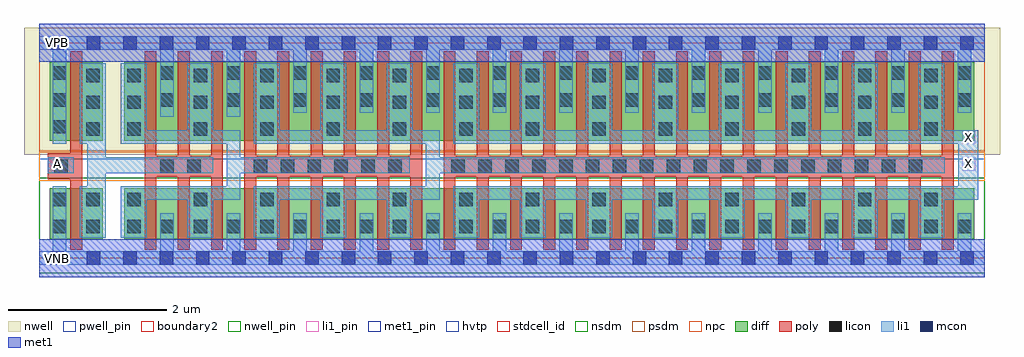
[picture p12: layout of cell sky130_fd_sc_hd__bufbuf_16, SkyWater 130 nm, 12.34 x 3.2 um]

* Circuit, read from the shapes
.subckt sky130_fd_sc_hd__bufbuf_16 A VGND VNB VPB VPWR X
XM1 n1 A VGND VNB sky130_fd_pr__nfet_01v8 w=0.65 l=0.15
XM2 VGND n1 n2 VNB sky130_fd_pr__nfet_01v8 w=0.65 l=0.15 m=3
XM3 n3 n2 VGND VNB sky130_fd_pr__nfet_01v8 w=0.65 l=0.15 m=6
XM4 X n3 VGND VNB sky130_fd_pr__nfet_01v8 w=0.65 l=0.15 m=16
XM5 n1 A VPWR VPB sky130_fd_pr__pfet_01v8_hvt w=1 l=0.15
XM6 VPWR n1 n2 VPB sky130_fd_pr__pfet_01v8_hvt w=1 l=0.15 m=3
XM7 n3 n2 VPWR VPB sky130_fd_pr__pfet_01v8_hvt w=1 l=0.15 m=6
XM8 X n3 VPWR VPB sky130_fd_pr__pfet_01v8_hvt w=1 l=0.15 m=16
.ends

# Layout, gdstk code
import gdstk
lib = gdstk.Library(unit=1e-6, precision=1e-09)
def R(c, l, rs):  # rectangles x0, y0, x1, y1
    for r in rs: c.add(gdstk.rectangle(r[:2], r[2:], *l))
def A(c, l, x, y, w, h, nx, ny, dx, dy):  # array of equal rectangles
    R(c, l, [(x+i*dx, y+j*dy, x+i*dx+w, y+j*dy+h) for i in range(nx) for j in range(ny)])
def P(c, l, *ps):  # polygons
    for p in ps: c.add(gdstk.Polygon(p, *l))
nwell_pin = (64, 16)
nwell = (64, 20)
diff = (65, 20)
poly = (66, 20)
licon = (66, 44)
li1_pin = (67, 16)
li1 = (67, 20)
mcon = (67, 44)
met1_pin = (68, 16)
met1 = (68, 20)
hvtp = (78, 44)
stdcell_id = (81, 4)
nsdm = (93, 44)
psdm = (94, 20)
npc = (95, 20)
pwell_pin = (122, 16)
boundary2 = (236, 0)

sky130_fd_sc_hd__bufbuf_ = lib.new_cell('sky130_fd_sc_hd__bufbuf_16')
R(sky130_fd_sc_hd__bufbuf_, nwell_pin, [(0.15,2.635,0.32,2.805)])
R(sky130_fd_sc_hd__bufbuf_, nwell, [(-0.19,1.305,12.15,2.91)])
R(sky130_fd_sc_hd__bufbuf_, diff, [(0.135,0.235,0.805,0.885), (1.075,0.235,11.825,0.885), (0.135,1.485,0.805,2.485), (1.075,1.485,11.825,2.485)])
P(sky130_fd_sc_hd__bufbuf_, poly, [(0.545,2.615),(0.395,2.615),(0.395,1.325),(0.11,1.325),(0.11,0.995),(0.395,0.995),(0.395,0.105),(0.545,0.105)],
  [(2.325,2.615),(2.175,2.615),(2.175,1.295),(1.905,1.295),(1.905,2.615),(1.755,2.615),(1.755,1.295),(1.485,1.295),(1.485,2.615),(1.335,2.615),(1.335,0.105),(1.485,0.105),(1.485,1.025),(1.755,1.025),(1.755,0.105),(1.905,0.105),(1.905,1.025),(2.175,1.025),(2.175,0.105),(2.325,0.105)],
  [(4.845,2.615),(4.695,2.615),(4.695,1.295),(4.425,1.295),(4.425,2.615),(4.275,2.615),(4.275,1.295),(4.005,1.295),(4.005,2.615),(3.855,2.615),(3.855,1.295),(3.585,1.295),(3.585,2.615),(3.435,2.615),(3.435,1.295),(3.165,1.295),(3.165,2.615),(3.015,2.615),(3.015,1.295),(2.745,1.295),(2.745,2.615),(2.595,2.615),(2.595,0.105),(2.745,0.105),(2.745,1.025),(3.015,1.025),(3.015,0.105),(3.165,0.105),(3.165,1.025),(3.435,1.025),(3.435,0.105),(3.585,0.105),(3.585,1.025),(3.855,1.025),(3.855,0.105),(4.005,0.105),(4.005,1.025),(4.275,1.025),(4.275,0.105),(4.425,0.105),(4.425,1.025),(4.695,1.025),(4.695,0.105),(4.845,0.105)],
  [(11.565,2.615),(11.415,2.615),(11.415,1.295),(11.145,1.295),(11.145,2.615),(10.995,2.615),(10.995,1.295),(10.725,1.295),(10.725,2.615),(10.575,2.615),(10.575,1.295),(10.305,1.295),(10.305,2.615),(10.155,2.615),(10.155,1.295),(9.885,1.295),(9.885,2.615),(9.735,2.615),(9.735,1.295),(9.465,1.295),(9.465,2.615),(9.315,2.615),(9.315,1.295),(9.045,1.295),(9.045,2.615),(8.895,2.615),(8.895,1.295),(8.625,1.295),(8.625,2.615),(8.475,2.615),(8.475,1.295),(8.205,1.295),(8.205,2.615),(8.055,2.615),(8.055,1.295),(7.785,1.295),(7.785,2.615),(7.635,2.615),(7.635,1.295),(7.365,1.295),(7.365,2.615),(7.215,2.615),(7.215,1.295),(6.945,1.295),(6.945,2.615),(6.795,2.615),(6.795,1.295),(6.525,1.295),(6.525,2.615),(6.375,2.615),(6.375,1.295),(6.105,1.295),(6.105,2.615),(5.955,2.615),(5.955,1.295),(5.685,1.295),(5.685,2.615),(5.535,2.615),(5.535,1.295),(5.265,1.295),(5.265,2.615),(5.115,2.615),(5.115,0.105),(5.265,0.105),(5.265,1.025),(5.535,1.025),(5.535,0.105),(5.685,0.105),(5.685,1.025),(5.955,1.025),(5.955,0.105),(6.105,0.105),(6.105,1.025),(6.375,1.025),(6.375,0.105),(6.525,0.105),(6.525,1.025),(6.795,1.025),(6.795,0.105),(6.945,0.105),(6.945,1.025),(7.215,1.025),(7.215,0.105),(7.365,0.105),(7.365,1.025),(7.635,1.025),(7.635,0.105),(7.785,0.105),(7.785,1.025),(8.055,1.025),(8.055,0.105),(8.205,0.105),(8.205,1.025),(8.475,1.025),(8.475,0.105),(8.625,0.105),(8.625,1.025),(8.895,1.025),(8.895,0.105),(9.045,0.105),(9.045,1.025),(9.315,1.025),(9.315,0.105),(9.465,0.105),(9.465,1.025),(9.735,1.025),(9.735,0.105),(9.885,0.105),(9.885,1.025),(10.155,1.025),(10.155,0.105),(10.305,0.105),(10.305,1.025),(10.575,1.025),(10.575,0.105),(10.725,0.105),(10.725,1.025),(10.995,1.025),(10.995,0.105),(11.145,0.105),(11.145,1.025),(11.415,1.025),(11.415,0.105),(11.565,0.105)])
A(sky130_fd_sc_hd__bufbuf_, licon, 1.115, 0.315, 0.17, 0.17, 26, 1, 0.42, 0)
A(sky130_fd_sc_hd__bufbuf_, licon, 1.115, 0.655, 0.17, 0.17, 13, 2, 0.84, 0.89)
A(sky130_fd_sc_hd__bufbuf_, licon, 2.715, 1.075, 0.17, 0.17, 6, 1, 0.34, 0)
A(sky130_fd_sc_hd__bufbuf_, licon, 5.215, 1.075, 0.17, 0.17, 18, 1, 0.34, 0)
A(sky130_fd_sc_hd__bufbuf_, licon, 0.595, 1.545, 0.17, 0.17, 1, 3, 0, 0.34)
A(sky130_fd_sc_hd__bufbuf_, licon, 0.175, 1.575, 0.17, 0.17, 1, 3, 0, 0.34)
A(sky130_fd_sc_hd__bufbuf_, licon, 1.115, 1.885, 0.17, 0.17, 13, 2, 0.84, 0.34)
A(sky130_fd_sc_hd__bufbuf_, licon, 1.535, 1.915, 0.17, 0.17, 13, 2, 0.84, 0.34)
R(sky130_fd_sc_hd__bufbuf_, licon, [(0.175,0.315,0.345,0.485), (0.595,0.315,0.765,0.485), (0.175,0.655,0.345,0.825), (0.595,0.655,0.765,0.825), (0.19,1.075,0.36,1.245), (1.535,1.075,1.705,1.245), (1.875,1.075,2.045,1.245)])
R(sky130_fd_sc_hd__bufbuf_, li1_pin, [(0.15,1.105,0.32,1.275), (11.67,1.105,11.84,1.275), (11.67,1.445,11.84,1.615)])
R(sky130_fd_sc_hd__bufbuf_, li1, [(0.11,1.075,0.44,1.275)])
P(sky130_fd_sc_hd__bufbuf_, li1, [(2.205,1.275),(0.845,1.275),(0.845,2.465),(0.515,2.465),(0.515,1.445),(0.61,1.445),(0.61,0.905),(0.515,0.905),(0.515,0.26),(0.845,0.26),(0.845,1.075),(2.205,1.075)],
  [(11.96,0.085),(11.785,0.085),(11.785,0.565),(11.615,0.565),(11.615,0.085),(10.945,0.085),(10.945,0.565),(10.775,0.565),(10.775,0.085),(10.105,0.085),(10.105,0.565),(9.935,0.565),(9.935,0.085),(9.265,0.085),(9.265,0.565),(9.095,0.565),(9.095,0.085),(8.425,0.085),(8.425,0.565),(8.255,0.565),(8.255,0.085),(7.585,0.085),(7.585,0.565),(7.415,0.565),(7.415,0.085),(6.745,0.085),(6.745,0.565),(6.575,0.565),(6.575,0.085),(5.905,0.085),(5.905,0.565),(5.735,0.565),(5.735,0.085),(5.065,0.085),(5.065,0.565),(4.895,0.565),(4.895,0.085),(4.225,0.085),(4.225,0.565),(4.055,0.565),(4.055,0.085),(3.385,0.085),(3.385,0.565),(3.215,0.565),(3.215,0.085),(2.545,0.085),(2.545,0.565),(2.375,0.565),(2.375,0.085),(1.705,0.085),(1.705,0.565),(1.535,0.565),(1.535,0.085),(0.345,0.085),(0.345,0.905),(0.175,0.905),(0.175,0.085),(0,0.085),(0,-0.085),(11.96,-0.085)],
  [(11.96,2.805),(0,2.805),(0,2.635),(0.175,2.635),(0.175,1.445),(0.345,1.445),(0.345,2.635),(1.535,2.635),(1.535,1.785),(1.705,1.785),(1.705,2.635),(2.375,2.635),(2.375,1.785),(2.545,1.785),(2.545,2.635),(3.215,2.635),(3.215,1.835),(3.385,1.835),(3.385,2.635),(4.055,2.635),(4.055,1.835),(4.225,1.835),(4.225,2.635),(4.895,2.635),(4.895,1.835),(5.065,1.835),(5.065,2.635),(5.735,2.635),(5.735,1.835),(5.905,1.835),(5.905,2.635),(6.575,2.635),(6.575,1.835),(6.745,1.835),(6.745,2.635),(7.415,2.635),(7.415,1.835),(7.585,1.835),(7.585,2.635),(8.255,2.635),(8.255,1.835),(8.425,1.835),(8.425,2.635),(9.095,2.635),(9.095,1.835),(9.265,1.835),(9.265,2.635),(9.935,2.635),(9.935,1.835),(10.105,1.835),(10.105,2.635),(10.775,2.635),(10.775,1.835),(10.945,1.835),(10.945,2.635),(11.615,2.635),(11.615,1.835),(11.785,1.835),(11.785,2.635),(11.96,2.635)],
  [(4.685,1.275),(2.545,1.275),(2.545,1.615),(2.205,1.615),(2.205,2.465),(1.875,2.465),(1.875,1.615),(1.365,1.615),(1.365,2.465),(1.035,2.465),(1.035,1.445),(2.375,1.445),(2.375,0.905),(1.035,0.905),(1.035,0.26),(1.365,0.26),(1.365,0.735),(1.875,0.735),(1.875,0.26),(2.205,0.26),(2.205,0.735),(2.545,0.735),(2.545,1.075),(4.685,1.075)],
  [(11.45,1.275),(5.065,1.275),(5.065,1.615),(4.725,1.615),(4.725,2.465),(4.395,2.465),(4.395,1.615),(3.885,1.615),(3.885,2.465),(3.555,2.465),(3.555,1.615),(3.045,1.615),(3.045,2.465),(2.715,2.465),(2.715,1.445),(4.89,1.445),(4.89,0.905),(2.715,0.905),(2.715,0.26),(3.045,0.26),(3.045,0.735),(3.555,0.735),(3.555,0.26),(3.885,0.26),(3.885,0.735),(4.395,0.735),(4.395,0.26),(4.725,0.26),(4.725,0.735),(5.065,0.735),(5.065,1.075),(11.45,1.075)],
  [(11.875,1.615),(11.445,1.615),(11.445,2.465),(11.115,2.465),(11.115,1.615),(10.605,1.615),(10.605,2.465),(10.275,2.465),(10.275,1.615),(9.765,1.615),(9.765,2.465),(9.435,2.465),(9.435,1.615),(8.925,1.615),(8.925,2.465),(8.595,2.465),(8.595,1.615),(8.085,1.615),(8.085,2.465),(7.755,2.465),(7.755,1.615),(7.245,1.615),(7.245,2.465),(6.915,2.465),(6.915,1.615),(6.405,1.615),(6.405,2.465),(6.075,2.465),(6.075,1.615),(5.565,1.615),(5.565,2.465),(5.235,2.465),(5.235,1.445),(11.62,1.445),(11.62,0.905),(5.235,0.905),(5.235,0.255),(5.485,0.255),(5.485,0.26),(5.565,0.26),(5.565,0.735),(6.075,0.735),(6.075,0.26),(6.155,0.26),(6.155,0.255),(6.325,0.255),(6.325,0.26),(6.405,0.26),(6.405,0.735),(6.915,0.735),(6.915,0.26),(6.995,0.26),(6.995,0.255),(7.165,0.255),(7.165,0.26),(7.245,0.26),(7.245,0.735),(7.755,0.735),(7.755,0.26),(8.085,0.26),(8.085,0.735),(8.595,0.735),(8.595,0.26),(8.925,0.26),(8.925,0.735),(9.435,0.735),(9.435,0.26),(9.765,0.26),(9.765,0.735),(10.275,0.735),(10.275,0.26),(10.605,0.26),(10.605,0.735),(11.115,0.735),(11.115,0.26),(11.445,0.26),(11.445,0.735),(11.875,0.735)])
A(sky130_fd_sc_hd__bufbuf_, mcon, 0.145, -0.085, 0.17, 0.17, 26, 2, 0.46, 2.72)
R(sky130_fd_sc_hd__bufbuf_, met1_pin, [(0.15,-0.085,0.32,0.085), (0.15,2.635,0.32,2.805)])
R(sky130_fd_sc_hd__bufbuf_, hvtp, [(0,1.25,11.96,2.72)])
R(sky130_fd_sc_hd__bufbuf_, stdcell_id, [(0,0,11.96,2.72)])
R(sky130_fd_sc_hd__bufbuf_, nsdm, [(0,-0.19,11.96,1.015)])
R(sky130_fd_sc_hd__bufbuf_, psdm, [(0,1.355,11.96,2.91)])
R(sky130_fd_sc_hd__bufbuf_, npc, [(0,0.975,11.96,1.345)])
R(sky130_fd_sc_hd__bufbuf_, pwell_pin, [(0.15,-0.085,0.32,0.085)])
R(sky130_fd_sc_hd__bufbuf_, boundary2, [(0,0,11.96,2.72)])
sky130_fd_sc_hd__bufbuf_.add(gdstk.FlexPath([(0,2.72),(11.96,2.72)], 0.48, ends="flush", simple_path=True, layer=68, datatype=20))  # met1
sky130_fd_sc_hd__bufbuf_.add(gdstk.FlexPath([(0,0),(11.96,0)], 0.48, ends="flush", simple_path=True, layer=68, datatype=20))  # met1
sky130_fd_sc_hd__bufbuf_.add(gdstk.Label('A', (0.235,1.19), layer=67, texttype=5))
sky130_fd_sc_hd__bufbuf_.add(gdstk.Label('X', (11.755,1.19), layer=67, texttype=5))
sky130_fd_sc_hd__bufbuf_.add(gdstk.Label('X', (11.755,1.53), layer=67, texttype=5))
sky130_fd_sc_hd__bufbuf_.add(gdstk.Label('VNB', (0.235,0), layer=64, texttype=59))
sky130_fd_sc_hd__bufbuf_.add(gdstk.Label('VPB', (0.235,2.72), layer=64, texttype=5))
sky130_fd_sc_hd__bufbuf_.add(gdstk.Label('VGND', (0.23,0), layer=68, texttype=5))
sky130_fd_sc_hd__bufbuf_.add(gdstk.Label('VPWR', (0.23,2.72), layer=68, texttype=5))
sky130_fd_sc_hd__bufbuf_.add(gdstk.Label('bufbuf_16', (0,0), layer=83, texttype=44))

lib.write_gds('sky130_fd_sc_hd__bufbuf_16.gds')
